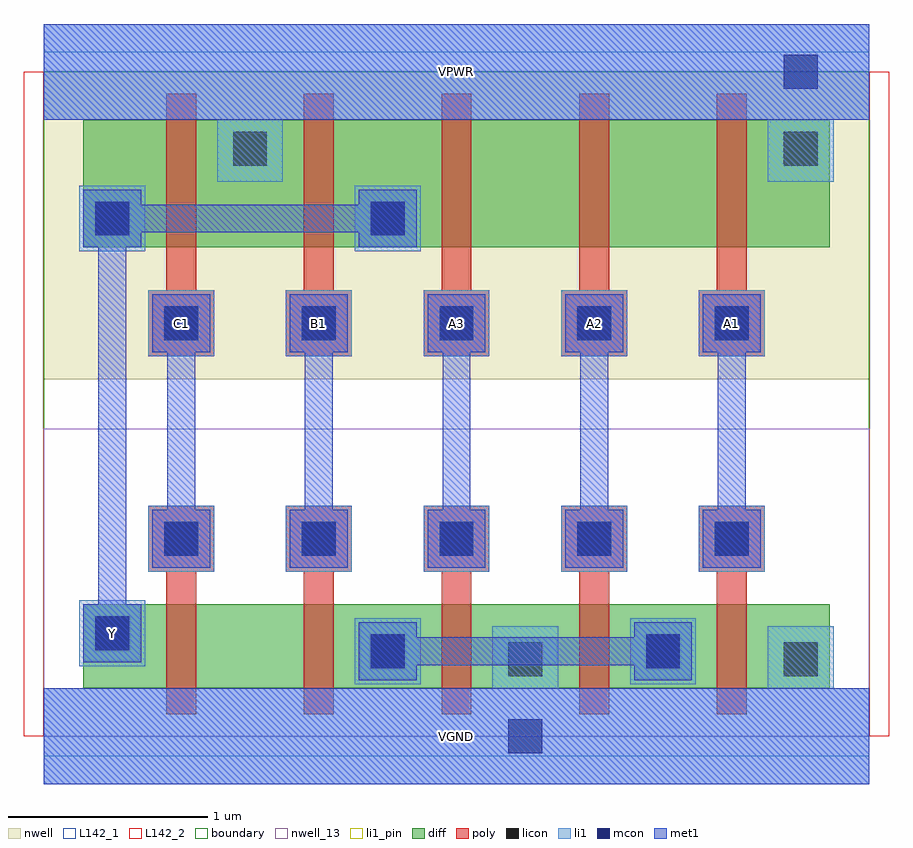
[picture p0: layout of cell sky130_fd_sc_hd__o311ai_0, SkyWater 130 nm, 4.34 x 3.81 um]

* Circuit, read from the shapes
.subckt sky130_fd_sc_hd__o311ai_0 A1 A2 A3 B1 C1 VGND VPWR Y
XM1 n1 C1 Y VSUBS sky130_fd_pr__nfet_01v8 w=0.42 l=0.15
XM2 n2 B1 n1 VSUBS sky130_fd_pr__nfet_01v8 w=0.42 l=0.15
XM3 VGND A3 n2 VSUBS sky130_fd_pr__nfet_01v8 w=0.42 l=0.15
XM4 n2 A2 VGND VSUBS sky130_fd_pr__nfet_01v8 w=0.42 l=0.15
XM5 VGND A1 n2 VSUBS sky130_fd_pr__nfet_01v8 w=0.42 l=0.15
XM6 VPWR C1 Y n3 sky130_fd_pr__pfet_01v8 w=0.64 l=0.15
XM7 Y B1 VPWR n3 sky130_fd_pr__pfet_01v8 w=0.64 l=0.15
XM8 n4 A3 Y n3 sky130_fd_pr__pfet_01v8 w=0.64 l=0.15
XM9 n5 A2 n4 n3 sky130_fd_pr__pfet_01v8 w=0.64 l=0.15
XM10 VPWR A1 n5 n3 sky130_fd_pr__pfet_01v8 w=0.64 l=0.15
.ends

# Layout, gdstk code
import gdstk
lib = gdstk.Library(unit=1e-6, precision=1e-09)
def R(c, l, rs):  # rectangles x0, y0, x1, y1
    for r in rs: c.add(gdstk.rectangle(r[:2], r[2:], *l))
def A(c, l, x, y, w, h, nx, ny, dx, dy):  # array of equal rectangles
    R(c, l, [(x+i*dx, y+j*dy, x+i*dx+w, y+j*dy+h) for i in range(nx) for j in range(ny)])
def P(c, l, *ps):  # polygons
    for p in ps: c.add(gdstk.Polygon(p, *l))
nwell_13 = (64, 13)
nwell = (64, 20)
diff = (65, 20)
poly = (66, 20)
licon = (66, 44)
li1_pin = (67, 16)
li1 = (67, 20)
mcon = (67, 44)
met1 = (68, 20)
L142_1 = (142, 1)
L142_2 = (142, 2)
boundary = (235, 4)

sky130_fd_sc_hd__o311ai_ = lib.new_cell('sky130_fd_sc_hd__o311ai_0')
R(sky130_fd_sc_hd__o311ai_, nwell_13, [(0,0,4.14,1.54)])
R(sky130_fd_sc_hd__o311ai_, nwell, [(0,1.79,4.14,3.33)])
A(sky130_fd_sc_hd__o311ai_, diff, 0.615, 0.24, 0.69, 0.42, 4, 1, 0.69, 0)
A(sky130_fd_sc_hd__o311ai_, diff, 0.615, 2.45, 0.69, 0.64, 4, 1, 0.69, 0)
R(sky130_fd_sc_hd__o311ai_, diff, [(0.2,0.24,3.94,0.66), (0.2,0.24,0.615,0.66), (3.375,0.24,3.94,0.66), (0.2,2.45,3.94,3.09), (0.2,2.45,0.615,3.09), (3.375,2.45,3.94,3.09)])
P(sky130_fd_sc_hd__o311ai_, poly, [(2.685,0.11),(2.685,0.825),(2.595,0.825),(2.595,1.155),(2.925,1.155),(2.925,0.825),(2.835,0.825),(2.835,0.11)],
  [(2.595,1.905),(2.595,2.235),(2.685,2.235),(2.685,3.22),(2.835,3.22),(2.835,2.235),(2.925,2.235),(2.925,1.905)],
  [(3.375,0.11),(3.375,0.825),(3.285,0.825),(3.285,1.155),(3.615,1.155),(3.615,0.825),(3.525,0.825),(3.525,0.11)],
  [(3.285,1.905),(3.285,2.235),(3.375,2.235),(3.375,3.22),(3.525,3.22),(3.525,2.235),(3.615,2.235),(3.615,1.905)],
  [(1.995,0.11),(1.995,0.825),(1.905,0.825),(1.905,1.155),(2.235,1.155),(2.235,0.825),(2.145,0.825),(2.145,0.11)],
  [(1.905,1.905),(1.905,2.235),(1.995,2.235),(1.995,3.22),(2.145,3.22),(2.145,2.235),(2.235,2.235),(2.235,1.905)],
  [(0.615,0.11),(0.615,0.825),(0.525,0.825),(0.525,1.155),(0.855,1.155),(0.855,0.825),(0.765,0.825),(0.765,0.11)],
  [(0.525,1.905),(0.525,2.235),(0.615,2.235),(0.615,3.22),(0.765,3.22),(0.765,2.235),(0.855,2.235),(0.855,1.905)],
  [(1.305,0.11),(1.305,0.825),(1.215,0.825),(1.215,1.155),(1.545,1.155),(1.545,0.825),(1.455,0.825),(1.455,0.11)],
  [(1.215,1.905),(1.215,2.235),(1.305,2.235),(1.305,3.22),(1.455,3.22),(1.455,2.235),(1.545,2.235),(1.545,1.905)])
A(sky130_fd_sc_hd__o311ai_, licon, 0.605, 0.905, 0.17, 0.17, 5, 2, 0.69, 1.08)
R(sky130_fd_sc_hd__o311ai_, licon, [(2.33,0.3,2.5,0.47), (3.71,0.3,3.88,0.47), (1.64,0.34,1.81,0.51), (3.02,0.34,3.19,0.51), (0.26,0.43,0.43,0.6), (0.26,2.51,0.43,2.68), (1.64,2.51,1.81,2.68), (0.95,2.86,1.12,3.03), (3.71,2.86,3.88,3.03)])
A(sky130_fd_sc_hd__o311ai_, li1_pin, 0.525, 1.905, 0.33, 0.33, 5, 1, 0.69, 0)
R(sky130_fd_sc_hd__o311ai_, li1_pin, [(0,-0.24,4.14,0.24), (0.18,0.35,0.51,0.68), (0,3.09,4.14,3.57)])
A(sky130_fd_sc_hd__o311ai_, li1, 0.525, 0.825, 0.33, 0.33, 5, 2, 0.69, 1.08)
R(sky130_fd_sc_hd__o311ai_, li1, [(1.56,0.26,1.89,0.59), (2.94,0.26,3.27,0.59), (0.18,0.35,0.51,0.68), (0.18,2.43,0.51,2.76), (1.56,2.43,1.89,2.76)])
P(sky130_fd_sc_hd__o311ai_, li1, [(0.87,2.78),(0.87,3.09),(0,3.09),(0,3.57),(4.14,3.57),(4.14,3.09),(3.96,3.09),(3.96,2.78),(3.63,2.78),(3.63,3.09),(1.2,3.09),(1.2,2.78)],
  [(0,-0.24),(0,0.24),(2.25,0.24),(2.25,0.55),(2.58,0.55),(2.58,0.24),(3.63,0.24),(3.63,0.55),(3.96,0.55),(3.96,0.24),(4.14,0.24),(4.14,-0.24)])
A(sky130_fd_sc_hd__o311ai_, mcon, 0.605, 0.905, 0.17, 0.17, 5, 2, 0.69, 1.08)
R(sky130_fd_sc_hd__o311ai_, mcon, [(2.33,-0.085,2.5,0.085), (1.64,0.34,1.81,0.51), (3.02,0.34,3.19,0.51), (0.26,0.43,0.43,0.6), (0.26,2.51,0.43,2.68), (1.64,2.51,1.81,2.68), (3.71,3.245,3.88,3.415)])
R(sky130_fd_sc_hd__o311ai_, met1, [(0,-0.24,4.14,0.24), (0,3.09,4.14,3.57)])
P(sky130_fd_sc_hd__o311ai_, met1, [(0.2,0.37),(0.2,0.66),(0.275,0.66),(0.275,2.45),(0.2,2.45),(0.2,2.74),(0.49,2.74),(0.49,2.665),(1.58,2.665),(1.58,2.74),(1.87,2.74),(1.87,2.45),(1.58,2.45),(1.58,2.525),(0.49,2.525),(0.49,2.45),(0.415,2.45),(0.415,0.66),(0.49,0.66),(0.49,0.37)],
  [(2.615,0.845),(2.615,1.135),(2.69,1.135),(2.69,1.925),(2.615,1.925),(2.615,2.215),(2.905,2.215),(2.905,1.925),(2.83,1.925),(2.83,1.135),(2.905,1.135),(2.905,0.845)],
  [(3.305,0.845),(3.305,1.135),(3.38,1.135),(3.38,1.925),(3.305,1.925),(3.305,2.215),(3.595,2.215),(3.595,1.925),(3.52,1.925),(3.52,1.135),(3.595,1.135),(3.595,0.845)],
  [(1.58,0.28),(1.58,0.57),(1.87,0.57),(1.87,0.495),(2.96,0.495),(2.96,0.57),(3.25,0.57),(3.25,0.28),(2.96,0.28),(2.96,0.355),(1.87,0.355),(1.87,0.28)],
  [(1.925,0.845),(1.925,1.135),(2,1.135),(2,1.925),(1.925,1.925),(1.925,2.215),(2.215,2.215),(2.215,1.925),(2.14,1.925),(2.14,1.135),(2.215,1.135),(2.215,0.845)],
  [(0.545,0.845),(0.545,1.135),(0.62,1.135),(0.62,1.925),(0.545,1.925),(0.545,2.215),(0.835,2.215),(0.835,1.925),(0.76,1.925),(0.76,1.135),(0.835,1.135),(0.835,0.845)],
  [(1.235,0.845),(1.235,1.135),(1.31,1.135),(1.31,1.925),(1.235,1.925),(1.235,2.215),(1.525,2.215),(1.525,1.925),(1.45,1.925),(1.45,1.135),(1.525,1.135),(1.525,0.845)])
R(sky130_fd_sc_hd__o311ai_, L142_1, [(0,-0.1,4.14,0), (0,3.33,4.14,3.43)])
R(sky130_fd_sc_hd__o311ai_, L142_2, [(-0.1,0,0,3.33), (4.14,0,4.24,3.33)])
R(sky130_fd_sc_hd__o311ai_, boundary, [(0,0,4.14,3.33)])
sky130_fd_sc_hd__o311ai_.add(gdstk.Label('Y', (0.345,0.515), layer=67, texttype=5))
sky130_fd_sc_hd__o311ai_.add(gdstk.Label('A1', (3.45,2.07), layer=67, texttype=5))
sky130_fd_sc_hd__o311ai_.add(gdstk.Label('A3', (2.07,2.07), layer=67, texttype=5))
sky130_fd_sc_hd__o311ai_.add(gdstk.Label('A2', (2.76,2.07), layer=67, texttype=5))
sky130_fd_sc_hd__o311ai_.add(gdstk.Label('B1', (1.38,2.07), layer=67, texttype=5))
sky130_fd_sc_hd__o311ai_.add(gdstk.Label('C1', (0.69,2.07), layer=67, texttype=5))
sky130_fd_sc_hd__o311ai_.add(gdstk.Label('VGND', (2.07,0), layer=67, texttype=5))
sky130_fd_sc_hd__o311ai_.add(gdstk.Label('VPWR', (2.07,3.33), layer=67, texttype=5))
sky130_fd_sc_hd__o311ai_.add(gdstk.Label('VGND', (2.07,0), layer=68, texttype=5))
sky130_fd_sc_hd__o311ai_.add(gdstk.Label('VPWR', (2.07,3.33), layer=68, texttype=5))

lib.write_gds('sky130_fd_sc_hd__o311ai_0.gds')
